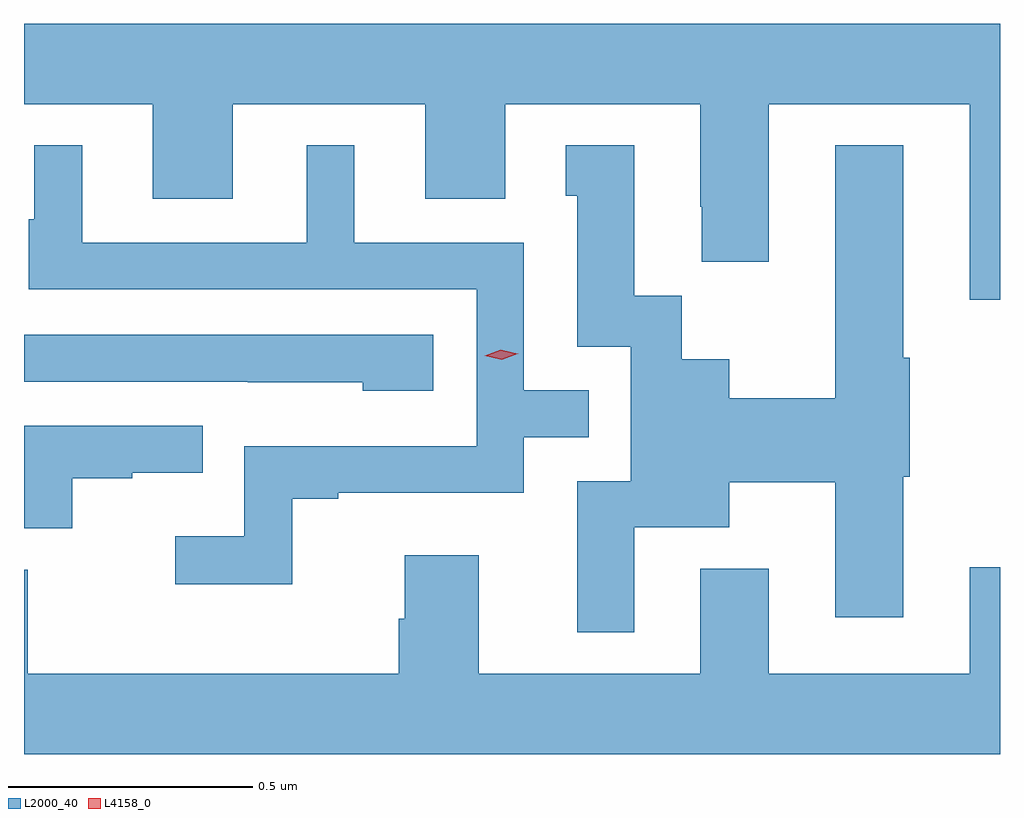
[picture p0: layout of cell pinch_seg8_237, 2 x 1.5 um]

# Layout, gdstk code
import gdstk
lib = gdstk.Library(unit=1e-6, precision=1e-09)
def P(c, l, *ps):  # polygons
    for p in ps: c.add(gdstk.Polygon(p, *l))
L2000_40 = (2000, 40)
L4158_0 = (4158, 0)

pinch_seg8_237 = lib.new_cell('pinch_seg8_237')
P(pinch_seg8_237, L2000_40, [(628.039,1114),(626.039,1114),(626.039,1113.836),(626.303,1113.836),(626.303,1113.642),(626.467,1113.642),(626.467,1113.836),(626.861,1113.836),(626.861,1113.642),(627.025,1113.642),(627.025,1113.836),(627.425,1113.836),(627.425,1113.625),(627.428,1113.625),(627.428,1113.513),(627.565,1113.513),(627.565,1113.836),(627.977,1113.836),(627.977,1113.435),(628.039,1113.435)],
  [(626.589,1113.027),(626.683,1113.027),(626.683,1113.039),(627.063,1113.039),(627.063,1113.153),(627.196,1113.153),(627.196,1113.249),(627.063,1113.249),(627.063,1113.552),(626.716,1113.552),(626.716,1113.751),(626.618,1113.751),(626.618,1113.552),(626.158,1113.552),(626.158,1113.751),(626.06,1113.751),(626.06,1113.6),(626.049,1113.6),(626.049,1113.456),(626.967,1113.456),(626.967,1113.135),(626.49,1113.135),(626.49,1112.95),(626.349,1112.95),(626.349,1112.852),(626.589,1112.852)],
  [(627.289,1112.969),(627.484,1112.969),(627.484,1113.061),(627.701,1113.061),(627.701,1112.784),(627.841,1112.784),(627.841,1113.072),(627.854,1113.072),(627.854,1113.316),(627.841,1113.316),(627.841,1113.751),(627.701,1113.751),(627.701,1113.233),(627.484,1113.233),(627.484,1113.313),(627.387,1113.313),(627.387,1113.443),(627.289,1113.443),(627.289,1113.751),(627.149,1113.751),(627.149,1113.648),(627.173,1113.648),(627.173,1113.339),(627.282,1113.339),(627.282,1113.063),(627.173,1113.063),(627.173,1112.754),(627.289,1112.754)],
  [(626.878,1113.363),(626.039,1113.363),(626.039,1113.267),(626.497,1113.267),(626.497,1113.266),(626.733,1113.266),(626.733,1113.248),(626.878,1113.248)],
  [(626.138,1113.069),(626.261,1113.069),(626.261,1113.08),(626.405,1113.08),(626.405,1113.177),(626.039,1113.177),(626.039,1112.967),(626.138,1112.967)],
  [(628.039,1112.887),(627.977,1112.887),(627.977,1112.668),(627.565,1112.668),(627.565,1112.884),(627.425,1112.884),(627.425,1112.668),(626.971,1112.668),(626.971,1112.911),(626.819,1112.911),(626.819,1112.781),(626.807,1112.781),(626.807,1112.668),(626.047,1112.668),(626.047,1112.882),(626.039,1112.882),(626.039,1112.504),(628.039,1112.504)])
P(pinch_seg8_237, L4158_0, [(627.018,1113.312),(626.983,1113.32),(626.982,1113.32),(626.983,1113.32),(627.016,1113.332),(627.051,1113.324),(627.052,1113.324),(627.051,1113.324)])

lib.write_gds('pinch_seg8_237.gds')
